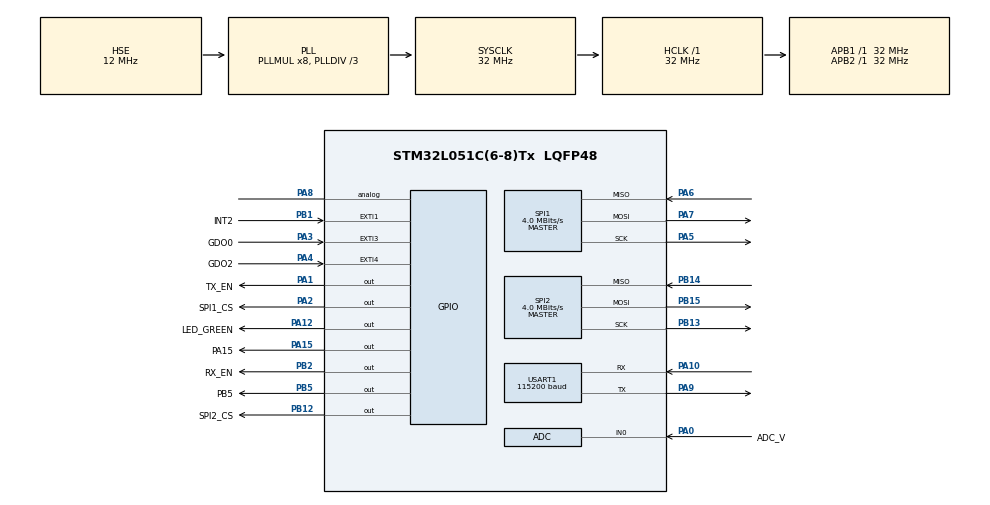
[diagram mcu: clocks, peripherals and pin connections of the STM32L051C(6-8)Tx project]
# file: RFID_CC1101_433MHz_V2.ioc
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ADC.SamplingTime=ADC_SAMPLETIME_160CYCLES_5
CRC.DefaultInitValueUse=DEFAULT_INIT_VALUE_ENABLE
CRC.DefaultPolynomialUse=DEFAULT_POLYNOMIAL_ENABLE
CRC.InputDataFormat=CRC_INPUTDATA_FORMAT_BYTES
CRC.InputDataInversionMode=CRC_INPUTDATA_INVERSION_BYTE
CRC.OutputDataInversionMode=CRC_OUTPUTDATA_INVERSION_ENABLE
IWDG.Prescaler=IWDG_PRESCALER_256
Mcu.Family=STM32L0
Mcu.Name=STM32L051C(6-8)Tx
Mcu.Package=LQFP48
NVIC.ADC1_COMP_IRQn=false\:3\:0\:true\:false\:true\:true\:true\:true
NVIC.EXTI0_1_IRQn=true\:2\:0\:true\:false\:true\:true\:true\:true
NVIC.EXTI2_3_IRQn=true\:1\:0\:true\:false\:true\:true\:true\:true
NVIC.EXTI4_15_IRQn=true\:1\:0\:true\:false\:true\:true\:true\:true
NVIC.RTC_IRQn=true\:2\:0\:true\:false\:true\:true\:true\:true
NVIC.USART1_IRQn=true\:3\:0\:true\:false\:true\:true\:true\:true
PA0.GPIO_Label=ADC_V
PA0.Mode=IN0
PA0.Signal=ADC_IN0
PA1.GPIO_Label=TX_EN
PA1.Signal=GPIO_Output
PA10.Mode=Asynchronous
PA10.Signal=USART1_RX
PA12.GPIO_Label=LED_GREEN
PA12.Signal=GPIO_Output
PA13.Mode=Serial_Wire
PA13.Signal=SYS_SWDIO
PA14.Mode=Serial_Wire
PA14.Signal=SYS_SWCLK
PA15.GPIO_Label=PA15
PA15.Signal=GPIO_Output
PA2.GPIO_Label=SPI1_CS
PA2.GPIO_PuPd=GPIO_PULLUP
PA2.PinState=GPIO_PIN_SET
PA2.Signal=GPIO_Output
PA3.GPIO_Label=GDO0
PA3.GPIO_ModeDefaultEXTI=GPIO_MODE_IT_RISING_FALLING
PA3.GPIO_PuPd=GPIO_NOPULL
PA3.Signal=GPXTI3
PA4.GPIO_Label=GDO2
PA4.GPIO_ModeDefaultEXTI=GPIO_MODE_IT_FALLING
PA4.GPIO_PuPd=GPIO_NOPULL
PA4.Signal=GPXTI4
PA5.Mode=Full_Duplex_Master
PA5.Signal=SPI1_SCK
PA6.Mode=Full_Duplex_Master
PA6.Signal=SPI1_MISO
PA7.Mode=Full_Duplex_Master
PA7.Signal=SPI1_MOSI
PA8.Signal=GPIO_Analog
PA9.Mode=Asynchronous
PA9.Signal=USART1_TX
PB1.GPIO_Label=INT2
PB1.Signal=GPXTI1
PB12.GPIO_Label=SPI2_CS
PB12.GPIO_PuPd=GPIO_PULLUP
PB12.PinState=GPIO_PIN_SET
PB12.Signal=GPIO_Output
PB13.Mode=Full_Duplex_Master
PB13.Signal=SPI2_SCK
PB14.Mode=Full_Duplex_Master
PB14.Signal=SPI2_MISO
PB15.Mode=Full_Duplex_Master
PB15.Signal=SPI2_MOSI
PB2.GPIO_Label=RX_EN
PB2.Signal=GPIO_Output
PB5.GPIO_Label=PB5
PB5.Signal=GPIO_Output
PC14-OSC32_IN.Mode=LSE-External-Oscillator
PC14-OSC32_IN.Signal=RCC_OSC32_IN
PC15-OSC32_OUT.Mode=LSE-External-Oscillator
PC15-OSC32_OUT.Signal=RCC_OSC32_OUT
PH0-OSC_IN.Mode=HSE-External-Oscillator
PH0-OSC_IN.Signal=RCC_OSC_IN
PH1-OSC_OUT.Mode=HSE-External-Oscillator
PH1-OSC_OUT.Signal=RCC_OSC_OUT
ProjectManager.HeapSize=0x0
ProjectManager.StackSize=0x800
ProjectManager.TargetToolchain=CMake
RCC.AHBFreq_Value=32000000
RCC.APB1Freq_Value=32000000
RCC.APB1TimFreq_Value=32000000
RCC.APB2Freq_Value=32000000
RCC.APB2TimFreq_Value=32000000
RCC.HCLKFreq_Value=32000000
RCC.HSE_VALUE=12000000
RCC.HSI16_VALUE=16000000
RCC.HSI_VALUE=16000000
RCC.LptimClockSelection=RCC_LPTIM1CLKSOURCE_LSE
RCC.MSI_VALUE=2097000
RCC.PLLDIV=RCC_PLLDIV_3
RCC.PLLMUL=RCC_PLLMUL_8
RCC.PLLSourceVirtual=RCC_PLLSOURCE_HSE
RCC.RCC_MCOSource=RCC_MCO1SOURCE_NOCLOCK
RCC.RTCClockSelection=RCC_RTCCLKSOURCE_LSE
RCC.RTCClockSelectionVirtual=RCC_RTCCLKSOURCE_LSE
RCC.SYSCLKFreq_VALUE=32000000
RCC.SYSCLKSource=RCC_SYSCLKSOURCE_PLLCLK
RCC.VCOOutputFreq_Value=96000000
RTC.WakeUpCounter-WakeUp=0x4FFF
SPI1.BaudRatePrescaler=SPI_BAUDRATEPRESCALER_8
SPI1.CalculateBaudRate=4.0 MBits/s
SPI1.Direction=SPI_DIRECTION_2LINES
SPI1.Mode=SPI_MODE_MASTER
SPI1.VirtualType=VM_MASTER
SPI2.BaudRatePrescaler=SPI_BAUDRATEPRESCALER_8
SPI2.CalculateBaudRate=4.0 MBits/s
SPI2.Direction=SPI_DIRECTION_2LINES
SPI2.Mode=SPI_MODE_MASTER
SPI2.VirtualType=VM_MASTER
USART1.BaudRate=115200
USART1.VirtualMode-Asynchronous=VM_ASYNC
VP_CRC_VS_CRC.Mode=CRC_Activate
VP_IWDG_VS_IWDG.Mode=IWDG_Activate
VP_RTC_VS_RTC_Activate.Mode=RTC_Enabled
VP_RTC_VS_RTC_WakeUp_intern.Mode=WakeUp
board=custom

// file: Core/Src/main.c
/* USER CODE BEGIN Header */
/**
  ******************************************************************************
  * @file           : main.c
  * @brief          : Main program body
  ******************************************************************************
  * @attention
  *
  * <h2><center>&copy; Copyright (c) 2020 STMicroelectronics.
  * All rights reserved.</center></h2>
  *
  * This software component is licensed by ST under BSD 3-Clause license,
  * the "License"; You may not use this file except in compliance with the
  * License. You may obtain a copy of the License at:
  *                        opensource.org/licenses/BSD-3-Clause
  *
  ******************************************************************************
  */
/* USER CODE END Header */
#include "main.h"
#include "adc.h"
#include "crc.h"
#include "iwdg.h"
#include "rtc.h"
#include "spi.h"
#include "usart.h"
#include "gpio.h"

/* USER CODE BEGIN Includes */
#include "cc1101.h"
#include "adxl362.h"
#include "rand_bytes_gen.h"
/* USER CODE END Includes */

/* USER CODE BEGIN PV */
uint8_t ErrorIndex;
device_t device;
uint16_t resetCnt;
uint8_t delayRand;
/* USER CODE END PV */

void SystemClock_Config(void);
/* USER CODE BEGIN PFP */
static void SystemPower_Config(void);
/* USER CODE END PFP */

int main(void)
{

  /* MCU Configuration--------------------------------------------------------*/

  /* Reset of all peripherals, Initializes the Flash interface and the Systick. */
  HAL_Init();

  /* Configure the system clock */
  SystemClock_Config();

  /* Initialize all configured peripherals */
  MX_GPIO_Init();
  MX_USART1_UART_Init();
  MX_SPI1_Init();
  MX_SPI2_Init();
  MX_IWDG_Init();
  MX_RTC_Init();
  MX_CRC_Init();
  MX_ADC_Init();
  /* USER CODE BEGIN 2 */
    System_Initial();
    Show_Message();
  /* USER CODE END 2 */

  /* Infinite loop */
  /* USER CODE BEGIN WHILE */
    while (1)
    {
        LL_IWDG_ReloadCounter(IWDG);
    /* USER CODE END WHILE */

    /* USER CODE BEGIN 3 */

        if(rtc.tenSecIndex == SET)
        {
            DATAEEPROM_Program(EEPROM_START_ADDR + 16, (uint32_t) rtc.tenSecTick);
            step.restArray[step.stepStage] = action_classify.rest;
            step.ingestionArray[step.stepStage] = action_classify.ingestion;
            step.movementArray[step.stepStage] = action_classify.movement;
            step.climbArray[step.stepStage] = action_classify.climb;
            step.ruminateArray[step.stepStage] = action_classify.ruminate;
            step.otherArray[step.stepStage] = action_classify.other;
            DATAEEPROM_Program(EEPROM_START_ADDR + 8, step.stepStage);
            DATAEEPROM_Program((EEPROM_START_ADDR + 0x100 + 4 * step.stepStage), (uint32_t)step.restArray[step.stepStage]);
            DATAEEPROM_Program((EEPROM_START_ADDR + 0x130 + 4 * step.stepStage), (uint32_t)step.ingestionArray[step.stepStage]);
            DATAEEPROM_Program((EEPROM_START_ADDR + 0x160 + 4 * step.stepStage), (uint32_t)step.movementArray[step.stepStage]);
            DATAEEPROM_Program((EEPROM_START_ADDR + 0x190 + 4 * step.stepStage), (uint32_t)step.climbArray[step.stepStage]);
            DATAEEPROM_Program((EEPROM_START_ADDR + 0x1C0 + 4 * step.stepStage), (uint32_t)step.ruminateArray[step.stepStage]);
            DATAEEPROM_Program((EEPROM_START_ADDR + 0x200 + 4 * step.stepStage), (uint32_t)step.otherArray[step.stepStage]);
            rtc.tenSecIndex = RESET;
        }

        if(rtc.twentyMinIndex == SET)
        {
            delayRand = rand() % 100;
            rfid_printf("delayRand = %d\n", delayRand);
            HAL_Delay(delayRand);
            memset(&action_classify, 0, sizeof(action_classify));

            for(uint8_t i = 0; i < _STEP_LOOPNUM; i++)
            {
                rfid_printf("%x ", step.movementArray[i]);
            }

            rfid_printf("\nstepStage = %d\n", step.stepStage);

            if(step.stepStage == (_STEP_LOOPNUM - 1))
            {
                step.stepStage = 0;
            }
            else
            {
                step.stepStage++;
            }

            DATAEEPROM_Program(EEPROM_START_ADDR + 8, step.stepStage);

            MX_SPI1_Init();
            adc_detect();
            RNG_Init();
            RNG_Gen();
            MX_CRC_Init();
            CC1101SendHandler();
            HAL_CRC_DeInit(&hcrc);
            MX_SPI1_DeInit();

            rtc.twentyMinIndex = RESET;
        }

        #if (_DEBUG == 1)

        if(usart.rxState == SET)
        {
            Set_DeviceInfo();
            usart.rxState = RESET;
        }

        HAL_Delay(100);
        LED_GREEN_TOG();
        #endif

        if(step.fifoOverrun == SET)
        {
            MX_SPI2_Init();
            rfid_printf("XL362_STATUS2: %x\n", ADXL362RegisterRead(XL362_STATUS));
            memset(fifo, 0, sizeof(fifo));
            LL_IWDG_ReloadCounter(IWDG);
            #if (_Original_Data_Algorithm == 0)
            ADXL362FifoRead(1024, fifo);
            ADXL362RegisterWrite(XL362_FIFO_CONTROL, 0x00);//select fifo is disabled
            ADXL362RegisterWrite(XL362_FIFO_CONTROL, 0x03);//select fifo triggered mode
            MX_SPI2_DeInit();
            ADXL362FifoProcess();
            #elif (_Original_Data_Algorithm == 1)
            ADXL362FifoRead(900, fifo);
            MX_SPI2_DeInit();
            MX_SPI1_Init();
            MX_CRC_Init();
            ADXL362FifoProcess();
            HAL_CRC_DeInit(&hcrc);
            MX_SPI1_DeInit();
            #else
            ADXL362FifoRead(900, fifo);
            MX_SPI2_DeInit();
            ADXL362FifoProcess();
            #endif
            step.fifoOverrun = RESET;
        }

        LL_IWDG_ReloadCounter(IWDG);
        #if (_DEBUG == 0)

        if(step.fifoOverrun == RESET && rtc.twentyMinIndex == RESET && rtc.tenSecIndex == RESET)
        {
            HAL_SuspendTick();
            SystemPower_Config();
            /* Enter Stop Mode */
            HAL_PWR_EnterSTOPMode(PWR_LOWPOWERREGULATOR_ON, PWR_STOPENTRY_WFI);
            SystemClock_Config();
            HAL_ResumeTick();
        }

        #endif
    }

  /* USER CODE END 3 */
}

void SystemClock_Config(void)
{
  RCC_OscInitTypeDef RCC_OscInitStruct = {0};
  RCC_ClkInitTypeDef RCC_ClkInitStruct = {0};
  RCC_PeriphCLKInitTypeDef PeriphClkInit = {0};

  /** Configure the main internal regulator output voltage
  */
  __HAL_PWR_VOLTAGESCALING_CONFIG(PWR_REGULATOR_VOLTAGE_SCALE1);

  /** Configure LSE Drive Capability
  */
  HAL_PWR_EnableBkUpAccess();
  __HAL_RCC_LSEDRIVE_CONFIG(RCC_LSEDRIVE_LOW);

  /** Initializes the RCC Oscillators according to the specified parameters
  * in the RCC_OscInitTypeDef structure.
  */
  RCC_OscInitStruct.OscillatorType = RCC_OSCILLATORTYPE_LSI|RCC_OSCILLATORTYPE_HSE
                              |RCC_OSCILLATORTYPE_LSE;
  RCC_OscInitStruct.HSEState = RCC_HSE_ON;
  RCC_OscInitStruct.LSEState = RCC_LSE_ON;
  RCC_OscInitStruct.LSIState = RCC_LSI_ON;
  RCC_OscInitStruct.PLL.PLLState = RCC_PLL_ON;
  RCC_OscInitStruct.PLL.PLLSource = RCC_PLLSOURCE_HSE;
  RCC_OscInitStruct.PLL.PLLMUL = RCC_PLLMUL_8;
  RCC_OscInitStruct.PLL.PLLDIV = RCC_PLLDIV_3;
  if (HAL_RCC_OscConfig(&RCC_OscInitStruct) != HAL_OK)
  {
    Error_Handler();
  }

  /** Initializes the CPU, AHB and APB buses clocks
  */
  RCC_ClkInitStruct.ClockType = RCC_CLOCKTYPE_HCLK|RCC_CLOCKTYPE_SYSCLK
                              |RCC_CLOCKTYPE_PCLK1|RCC_CLOCKTYPE_PCLK2;
  RCC_ClkInitStruct.SYSCLKSource = RCC_SYSCLKSOURCE_PLLCLK;
  RCC_ClkInitStruct.AHBCLKDivider = RCC_SYSCLK_DIV1;
  RCC_ClkInitStruct.APB1CLKDivider = RCC_HCLK_DIV1;
  RCC_ClkInitStruct.APB2CLKDivider = RCC_HCLK_DIV1;

  if (HAL_RCC_ClockConfig(&RCC_ClkInitStruct, FLASH_LATENCY_1) != HAL_OK)
  {
    Error_Handler();
  }
  PeriphClkInit.PeriphClockSelection = RCC_PERIPHCLK_USART1|RCC_PERIPHCLK_RTC;
  PeriphClkInit.Usart1ClockSelection = RCC_USART1CLKSOURCE_PCLK2;
  PeriphClkInit.RTCClockSelection = RCC_RTCCLKSOURCE_LSE;
  if (HAL_RCCEx_PeriphCLKConfig(&PeriphClkInit) != HAL_OK)
  {
    Error_Handler();
  }
  HAL_RCC_MCOConfig(RCC_MCO1, RCC_MCO1SOURCE_LSE, RCC_MCODIV_1);
}

/* USER CODE BEGIN 4 */
/**
  * @brief  System Power Configuration
  *         The system Power is configured as follow :
  *            + Regulator in LP mode
  *            + VREFINT OFF, with fast wakeup enabled
  *            + HSI as SysClk after Wake Up
  *            + No IWDG
  *            + Automatic Wakeup using RTC clocked by LSI (after ~4s)
  * @param  None
  * @retval None
  */
static void SystemPower_Config(void)
{
    /* Enable Ultra low power mode */
    HAL_PWREx_EnableUltraLowPower();

    /* Enable the fast wake up from Ultra low power mode */
    HAL_PWREx_EnableFastWakeUp();

    /* Select HSI as system clock source after Wake Up from Stop mode */
    __HAL_RCC_WAKEUPSTOP_CLK_CONFIG(RCC_STOP_WAKEUPCLOCK_HSI);
}

/**
  * @brief System Initial
  * @retval None
*/
void System_Initial(void)
{
    /*##-1- initial all peripheral ##*/
    #if (_RFID_PRINT_DEBUG == 1)
    Activate_USART1_RXIT();
    #else
    MX_USART1_UART_DeInit();
    #endif
    Get_SerialNum();
    ADXL362_Init();
    /*##-2- initial CC1101 peripheral,configure it's address and sync code ##*/
		CC1101_POWER_ON();
    RFIDInitial(0xEF, 0x1234, IDLE_MODE);
    CC1101WriteCmd(CC1101_SPWD);
		CC1101_POWER_DOWN();

    resetCnt = (uint16_t)(0x0000FFFF & DATAEEPROM_Read(EEPROM_START_ADDR + 12));
    resetCnt++;
    DATAEEPROM_Program(EEPROM_START_ADDR + 12, (uint32_t)resetCnt);

    for(uint8_t i = 0; i < _STEP_LOOPNUM; i++)
    {
        step.restArray[i] = (uint16_t)(0x0000FFFF & DATAEEPROM_Read(EEPROM_START_ADDR + 0x100 + 4 * i));
    }

    for(uint8_t i = 0; i < _STEP_LOOPNUM; i++)
    {
        step.ingestionArray[i] = (uint16_t)(0x0000FFFF & DATAEEPROM_Read(EEPROM_START_ADDR + 0x130 + 4 * i));
    }

    for(uint8_t i = 0; i < _STEP_LOOPNUM; i++)
    {
        step.movementArray[i] = (uint16_t)(0x0000FFFF & DATAEEPROM_Read(EEPROM_START_ADDR + 0x160 + 4 * i));
    }

    for(uint8_t i = 0; i < _STEP_LOOPNUM; i++)
    {
        step.climbArray[i] = (uint16_t)(0x0000FFFF & DATAEEPROM_Read(EEPROM_START_ADDR + 0x190 + 4 * i));
    }

    for(uint8_t i = 0; i < _STEP_LOOPNUM; i++)
    {
        step.ruminateArray[i] = (uint16_t)(0x0000FFFF & DATAEEPROM_Read(EEPROM_START_ADDR + 0x1C0 + 4 * i));
    }

    for(uint8_t i = 0; i < _STEP_LOOPNUM; i++)
    {
        step.otherArray[i] = (uint16_t)(0x0000FFFF & DATAEEPROM_Read(EEPROM_START_ADDR + 0x200 + 4 * i));
    }

    step.stepStage = (uint8_t)(0x000000FF & DATAEEPROM_Read(EEPROM_START_ADDR + 8));
    rtc.tenSecTick = (uint8_t)(0x000000FF & DATAEEPROM_Read(EEPROM_START_ADDR + 16));
    rtc.tenSecIndex = RESET;
    rtc.twentyMinIndex = RESET;

    rfid_printf("\nstepArray = ");

    for(uint8_t i = 0; i < _STEP_LOOPNUM; i++)
    {
        rfid_printf("%x ", step.movementArray[i]);
    }

    rfid_printf("\nstepStage = %d\n", step.stepStage);
    rfid_printf("tenSecTick = %d\n", rtc.tenSecTick);
}

/**
  * @brief Get Device Unique Code
  * @retval None
*/
void Get_SerialNum(void)
{
    memset(&device, 0, sizeof(device));
    device.deviceSerial0 = DATAEEPROM_Read(EEPROM_START_ADDR);
    device.deviceSerial1 = DATAEEPROM_Read(EEPROM_START_ADDR + 4);
//  device.deviceSerial0 = *(uint32_t*)(0x1FF80050);//HAL_GetUIDw0
//  device.deviceSerial1 = *(uint32_t*)(0x1FF80054);//HAL_GetUIDw1
//  device.deviceSerial2 = *(uint32_t*)(0x1FF80064);//HAL_GetUIDw2
    device.deviceCode1 = (uint8_t)(0x000000FF & device.deviceSerial0 >> 24);
    device.deviceCode2 = (uint8_t)(0x000000FF & device.deviceSerial0 >> 16);
    device.deviceCode3 = (uint8_t)(0x000000FF & device.deviceSerial0 >> 8);
    device.deviceCode4 = (uint8_t)(0x000000FF & device.deviceSerial0);
    device.deviceCode5 = (uint8_t)(0x000000FF & device.deviceSerial1 >> 24);
    device.deviceCode6 = (uint8_t)(0x000000FF & device.deviceSerial1 >> 16);
}

/**
  * @brief Show Message
  * @retval None
*/
void Show_Message(void)
{
    unsigned int  ReadValueTemp;
    rfid_printf("\n|***********************************************************|\n");
    rfid_printf("|*-------------------RFID collar program-------------------*|\n");
    rfid_printf("|*---------using USART1,configuration:%d 8-N-1---------*|\n", 115200);
    rfid_printf("|*-when in transfer mode,the data can't exceed 256 bytes!!-*|\n");
    rfid_printf("|*-----------deviceCode in eeprom = %08x", device.deviceSerial0);
    rfid_printf("%04x-----------*|\n", (uint16_t)(0x0000FFFF & device.deviceSerial1 >> 16));
    rfid_printf("|***********************************************************|\n");

    #if (_DEBUG == 1)
    printf("\n|*************************************************************|\n");
    printf("|*-----------please configure deviceCode in eeprom-----------*|\n");
    printf("|*------Header-------|---------device code---------|---Tail--*|\n");
    printf("|*0x41 0x42 0x43 0x44|0xXX 0xXX 0xXX 0xXX 0xXX 0xXX|0x0D 0x0A*|\n");
    printf("|*************************************************************|\n");
    #endif

    ReadValueTemp = ADXL362RegisterRead(XL362_DEVID_AD);    //Analog Devices device ID, 0xAD

    if(ReadValueTemp == 0xAD)
    {
        LED_GREEN_ON();
        HAL_Delay(500);
    }

    rfid_printf("\n|*************************************|\n");
    rfid_printf("|*---------ADXL362 CHIP INFO---------*|\n");
    rfid_printf("|*-Analog Devices device ID: %x------*|\n", ReadValueTemp);    //send via UART
    ReadValueTemp = ADXL362RegisterRead(XL362_DEVID_MST);    //Analog Devices MEMS device ID, 0x1D

    if(ReadValueTemp == 0x1D)
    {
        LED_GREEN_OFF();
        HAL_Delay(500);
    }

    rfid_printf("|*-Analog Devices MEMS device ID: %x-*|\n", ReadValueTemp);    //send via UART
    ReadValueTemp = ADXL362RegisterRead(XL362_PARTID);    //part ID, 0xF2

    if(ReadValueTemp == 0xF2)
    {
        LED_GREEN_ON();
        HAL_Delay(500);
    }

    rfid_printf("|*-Part ID: %x-----------------------*|\n", ReadValueTemp);    //send via UART
    ReadValueTemp = ADXL362RegisterRead(XL362_REVID);    //version ID, 0x03

    if(ReadValueTemp == 0x02 || ReadValueTemp == 0x03)
    {
        LED_GREEN_OFF();
    }

    rfid_printf("|*-Version ID: %x---------------------*|\n", ReadValueTemp);    //send via UART
    rfid_printf("|*************************************|\n");

    MX_SPI1_DeInit();
    MX_SPI2_DeInit();
}

/**
  * @brief Set_DeviceInfo
  * @retval None
*/
void Set_DeviceInfo(void)
{
    /* Set transmission flag: trasfer complete*/
    uint32_t data;

    /*##-1- Check UART receive data whether is ��ABCD�� begin or not ###########################*/
    if(usart.rxBuffer[0] == 0x41 && usart.rxBuffer[1] == 0x42 && usart.rxBuffer[2] == 0x43 && usart.rxBuffer[3] == 0x44)//���롮ABCD��
    {
        data = ((uint32_t)(0xFF000000 & usart.rxBuffer[4] << 24) + (uint32_t)(0x00FF0000 & usart.rxBuffer[5] << 16) + (uint32_t)(0x0000FF00 & usart.rxBuffer[6] << 8) + (uint32_t)(0x000000FF & usart.rxBuffer[7]));
        DATAEEPROM_Program(EEPROM_START_ADDR, data);
        data = ((uint32_t)(0xFF000000 & usart.rxBuffer[8] << 24) + (uint32_t)(0x00FF0000 & usart.rxBuffer[9] << 16));
        DATAEEPROM_Program(EEPROM_START_ADDR + 4, data);

        Get_SerialNum();

        #if (_DEBUG == 1)
        printf("\neeprom program end\n");
        printf("deviceCode = %08x", device.deviceSerial0);
        printf("%04x\n", (uint16_t)(0x0000FFFF & device.deviceSerial1 >> 16));
        #endif
    }
}

/**
  * @brief DATAEEPROM WRITE
  * @retval None
*/
void DATAEEPROM_Program(uint32_t Address, uint32_t Data)
{
    /* Unlocks the data memory and FLASH_PECR register access *************/
    if(HAL_FLASHEx_DATAEEPROM_Unlock() != HAL_OK)
    {
        Error_Handler();
    }

    /* Clear FLASH error pending bits */
    __HAL_FLASH_CLEAR_FLAG(FLASH_FLAG_WRPERR | FLASH_FLAG_SIZERR |
                           FLASH_FLAG_OPTVERR | FLASH_FLAG_RDERR |
                           FLASH_FLAG_FWWERR | FLASH_FLAG_NOTZEROERR);

    /*Erase a word in data memory *************/
    if (HAL_FLASHEx_DATAEEPROM_Erase(Address) != HAL_OK)
    {
        Error_Handler();
    }

    /*Enable DATA EEPROM fixed Time programming (2*Tprog) *************/
    HAL_FLASHEx_DATAEEPROM_EnableFixedTimeProgram();

    /* Program word at a specified address *************/
    if (HAL_FLASHEx_DATAEEPROM_Program(FLASH_TYPEPROGRAMDATA_WORD, Address, Data) != HAL_OK)
    {
        Error_Handler();
    }

    /*Disables DATA EEPROM fixed Time programming (2*Tprog) *************/
    HAL_FLASHEx_DATAEEPROM_DisableFixedTimeProgram();

    /* Locks the Data memory and FLASH_PECR register access. (recommended
     to protect the DATA_EEPROM against possible unwanted operation) *********/
    HAL_FLASHEx_DATAEEPROM_Lock();

}

/**
  * @brief DATAEEPROM READ
  * @retval DATA
*/
uint32_t DATAEEPROM_Read(uint32_t Address)
{
    return *(__IO uint32_t*)Address;
}

void LED_Blinking(uint32_t Period)
{
    /* Toggle LED2 in an infinite loop */
    while (1)
    {
        LED_GREEN_TOG();
        HAL_Delay(Period);
    }
}
/* USER CODE END 4 */

void Error_Handler(void)
{
  /* USER CODE BEGIN Error_Handler_Debug */
    /* User can add his own implementation to report the HAL error return state */
    if (ErrorIndex == 0x01 || ErrorIndex == 0x02)
        LED_Blinking(200);
    else
        LED_Blinking(2000);

    __disable_irq();

    while (1)
    {
    }

  /* USER CODE END Error_Handler_Debug */
}
